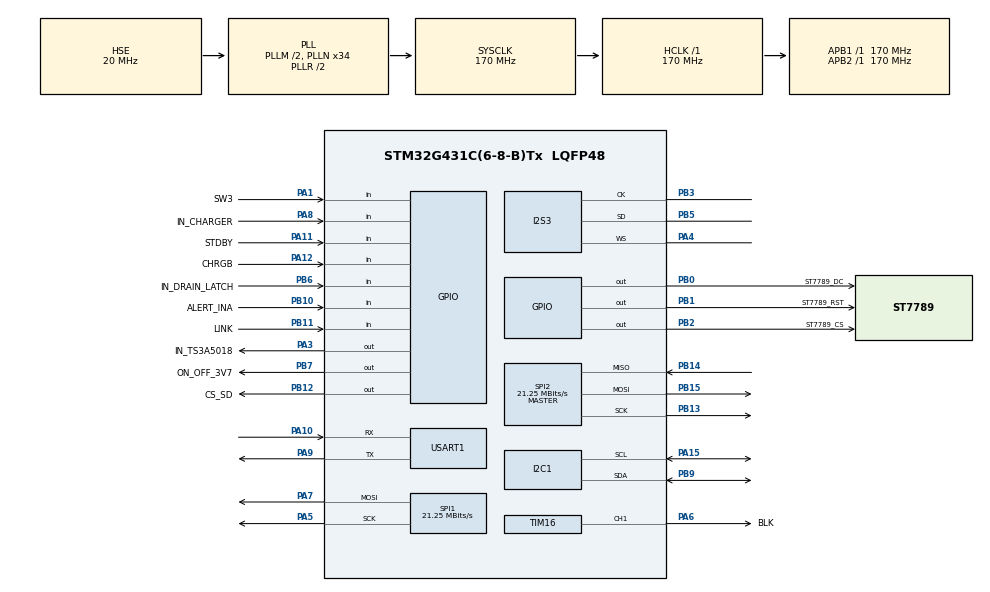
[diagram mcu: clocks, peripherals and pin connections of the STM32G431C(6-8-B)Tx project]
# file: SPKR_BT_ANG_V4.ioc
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Dma.Request0=SPI1_TX
Dma.SPI1_TX.0.Direction=DMA_MEMORY_TO_PERIPH
Dma.SPI1_TX.0.EventEnable=DISABLE
Dma.SPI1_TX.0.Instance=DMA1_Channel1
Dma.SPI1_TX.0.MemDataAlignment=DMA_MDATAALIGN_BYTE
Dma.SPI1_TX.0.MemInc=DMA_MINC_ENABLE
Dma.SPI1_TX.0.Mode=DMA_NORMAL
Dma.SPI1_TX.0.PeriphDataAlignment=DMA_PDATAALIGN_BYTE
Dma.SPI1_TX.0.PeriphInc=DMA_PINC_DISABLE
Dma.SPI1_TX.0.Polarity=HAL_DMAMUX_REQ_GEN_RISING
Dma.SPI1_TX.0.Priority=DMA_PRIORITY_LOW
Dma.SPI1_TX.0.RequestNumber=1
Dma.SPI1_TX.0.SignalID=NONE
Dma.SPI1_TX.0.SyncEnable=DISABLE
Dma.SPI1_TX.0.SyncPolarity=HAL_DMAMUX_SYNC_NO_EVENT
Dma.SPI1_TX.0.SyncRequestNumber=1
Dma.SPI1_TX.0.SyncSignalID=NONE
FATFS._MAX_SS=4096
FATFS._USE_LFN=1
I2C1.Timing=0x40B285C2
I2S3.AudioFreq=I2S_AUDIOFREQ_44K
I2S3.ErrorAudioFreq=-0.21 %
I2S3.FullDuplexMode=I2S_FULLDUPLEXMODE_DISABLE
I2S3.Instance=SPI$Index
I2S3.RealAudioFreq=43.904 KHz
I2S3.VirtualMode=I2S_MODE_MASTER
Mcu.Family=STM32G4
Mcu.Name=STM32G431C(6-8-B)Tx
Mcu.Package=LQFP48
NVIC.DMA1_Channel1_IRQn=true\:0\:0\:false\:false\:true\:false\:true\:true
NVIC.PriorityGroup=NVIC_PRIORITYGROUP_4
PA0.Mode=SYS_WakeUp0
PA0.Signal=SYS_WKUP1
PA1.GPIO_Label=SW3
PA1.GPIO_PuPd=GPIO_PULLUP
PA1.Signal=GPIO_Input
PA10.Mode=Asynchronous
PA10.Signal=USART1_RX
PA11.GPIO_Label=STDBY
PA11.Signal=GPIO_Input
PA12.GPIO_Label=CHRGB
PA12.Signal=GPIO_Input
PA13.Mode=Serial_Wire
PA13.Signal=SYS_JTMS-SWDIO
PA14.Mode=Serial_Wire
PA14.Signal=SYS_JTCK-SWCLK
PA15.Mode=I2C
PA15.Signal=I2C1_SCL
PA2.Mode=SYS_WakeUp3
PA2.Signal=SYS_WKUP4
PA3.GPIO_Label=IN_TS3A5018
PA3.Signal=GPIO_Output
PA4.Mode=Half_Duplex_Master
PA4.Signal=I2S3_WS
PA5.Mode=TX_Only_Simplex_Unidirect_Master
PA5.Signal=SPI1_SCK
PA6.GPIO_Label=BLK
PA6.Signal=S_TIM16_CH1
PA7.Mode=TX_Only_Simplex_Unidirect_Master
PA7.Signal=SPI1_MOSI
PA8.GPIO_Label=IN_CHARGER
PA8.Signal=GPIO_Input
PA9.Mode=Asynchronous
PA9.Signal=USART1_TX
PB0.GPIO_Label=ST7789_DC
PB0.GPIO_Speed=GPIO_SPEED_FREQ_VERY_HIGH
PB0.Signal=GPIO_Output
PB1.GPIO_Label=ST7789_RST
PB1.GPIO_Speed=GPIO_SPEED_FREQ_VERY_HIGH
PB1.Signal=GPIO_Output
PB10.GPIO_Label=ALERT_INA
PB10.GPIO_PuPd=GPIO_PULLUP
PB10.Signal=GPIO_Input
PB11.GPIO_Label=LINK
PB11.Signal=GPIO_Input
PB12.GPIO_Label=CS_SD
PB12.Signal=GPIO_Output
PB13.Mode=Full_Duplex_Master
PB13.Signal=SPI2_SCK
PB14.Mode=Full_Duplex_Master
PB14.Signal=SPI2_MISO
PB15.Mode=Full_Duplex_Master
PB15.Signal=SPI2_MOSI
PB2.GPIO_Label=ST7789_CS
PB2.GPIO_Speed=GPIO_SPEED_FREQ_VERY_HIGH
PB2.PinState=GPIO_PIN_SET
PB2.Signal=GPIO_Output
PB3.Mode=Half_Duplex_Master
PB3.Signal=I2S3_CK
PB5.Mode=Half_Duplex_Master
PB5.Signal=I2S3_SD
PB6.GPIO_Label=IN_DRAIN_LATCH
PB6.Signal=GPIO_Input
PB7.GPIO_Label=ON_OFF_3V7
PB7.Signal=GPIO_Output
PB9.Mode=I2C
PB9.Signal=I2C1_SDA
PC13.Mode=SYS_WakeUp1
PC13.Signal=SYS_WKUP2
PF0-OSC_IN.Mode=HSE-External-Oscillator
PF0-OSC_IN.Signal=RCC_OSC_IN
PF1-OSC_OUT.Mode=HSE-External-Oscillator
PF1-OSC_OUT.Signal=RCC_OSC_OUT
ProjectManager.HeapSize=0x200
ProjectManager.StackSize=0x400
ProjectManager.TargetToolchain=STM32CubeIDE
RCC.ADC12Freq_Value=170000000
RCC.AHBFreq_Value=170000000
RCC.APB1Freq_Value=170000000
RCC.APB1TimFreq_Value=170000000
RCC.APB2Freq_Value=170000000
RCC.APB2TimFreq_Value=170000000
RCC.CortexFreq_Value=170000000
RCC.EXTERNAL_CLOCK_VALUE=12288000
RCC.HCLKFreq_Value=170000000
RCC.HSE_VALUE=20000000
RCC.HSI48_VALUE=48000000
RCC.HSI_VALUE=16000000
RCC.LSE_VALUE=32768
RCC.PLLM=RCC_PLLM_DIV2
RCC.PLLN=34
RCC.PLLSourceVirtual=RCC_PLLSOURCE_HSE
RCC.SYSCLKFreq_VALUE=170000000
RCC.SYSCLKSource=RCC_SYSCLKSOURCE_PLLCLK
RCC.USBFreq_Value=170000000
RCC.VCOOutputFreq_Value=340000000
SH.S_TIM16_CH1.0=TIM16_CH1,PWM Generation1 CH1
SPI1.BaudRatePrescaler=SPI_BAUDRATEPRESCALER_8
SPI1.CLKPhase=SPI_PHASE_1EDGE
SPI1.CLKPolarity=SPI_POLARITY_HIGH
SPI1.CalculateBaudRate=21.25 MBits/s
SPI1.DataSize=SPI_DATASIZE_8BIT
SPI1.Direction=SPI_DIRECTION_2LINES
SPI1.Mode=SPI_MODE_MASTER
SPI1.VirtualType=VM_MASTER
SPI2.BaudRatePrescaler=SPI_BAUDRATEPRESCALER_8
SPI2.CalculateBaudRate=21.25 MBits/s
SPI2.DataSize=SPI_DATASIZE_8BIT
SPI2.Direction=SPI_DIRECTION_2LINES
SPI2.Mode=SPI_MODE_MASTER
SPI2.VirtualType=VM_MASTER
TIM16.Channel=TIM_CHANNEL_1
TIM16.Prescaler=170-1
USART1.VirtualMode-Asynchronous=VM_ASYNC
VP_FATFS_VS_Generic.Mode=User_defined
VP_TIM16_VS_ClockSourceINT.Mode=Enable_Timer
board=custom

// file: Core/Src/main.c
/* USER CODE BEGIN Header */
/**
  ******************************************************************************
  * @file           : main.c
  * @brief          : Main program body
  ******************************************************************************
  * @attention
  *
  * Copyright (c) 2024 STMicroelectronics.
  * All rights reserved.
  *
  * This software is licensed under terms that can be found in the LICENSE file
  * in the root directory of this software component.
  * If no LICENSE file comes with this software, it is provided AS-IS.
  *
  ******************************************************************************
  */
/* USER CODE END Header */
#include "main.h"
#include "app_fatfs.h"

/* USER CODE BEGIN Includes */
#include "stdio.h"
#include "Anglas_ST7789.h"
#include "fonts.h"
#include "math.h"
#include "bitmap.h"

#include "Anglas_MAX17048.h"
#include "Anglas_INA226.h"

#include "testimg.h"
#include "fatfs_sd.h"
/* USER CODE END Includes */

I2C_HandleTypeDef hi2c1;

I2S_HandleTypeDef hi2s3;

SPI_HandleTypeDef hspi1;
SPI_HandleTypeDef hspi2;
DMA_HandleTypeDef hdma_spi1_tx;

TIM_HandleTypeDef htim16;

UART_HandleTypeDef huart1;

/* USER CODE BEGIN PV */
uint16_t contInt=0;
float contFloat=0.0;
char buff[64];
uint16_t freq_BLK = 5000;//5khz
uint16_t nroImagen;
uint32_t contAutomaticOFF=0;
uint8_t cantMaxImages=30;
uint8_t flagMostrarDatosParlante=0;
uint8_t flagMantenerEncendido=1;

float soc, voltage_pwrbank, current_pwrbank, voltage_bat;

/* USER CODE END PV */

void SystemClock_Config(void);
static void MX_GPIO_Init(void);
static void MX_DMA_Init(void);
static void MX_I2C1_Init(void);
static void MX_SPI1_Init(void);
static void MX_TIM16_Init(void);
static void MX_SPI2_Init(void);
static void MX_I2S3_Init(void);
static void MX_USART1_UART_Init(void);
/* USER CODE BEGIN PFP */
void PWM_set_Freq_DutyCycle(uint16_t freq, uint8_t duty);

/* USER CODE END PFP */

/* USER CODE BEGIN 0 */
FATFS fs;  // file system
//FIL file; // File
//FILINFO fno;
//FRESULT fresult;  // result
//UINT br, bw;  // File read/write count

/**** capacity related *****/
//FATFS *pfs;
//DWORD fre_clust;
//uint32_t total, free_space;
//char buffer[100];
//uint16_t farbe;

int displayImage(const char* fname) {
    FIL file;
    FRESULT res = f_open(&file, fname, FA_READ);
    if(res != FR_OK) {
    	ST7789_Print(0, 0, RGB565(0, 0, 255) , RGB565(255, 255, 255) , Font_11x18, "f_open() failed");
        return -1;
    }

    //ST7789_print(0, 20, RGB565(0, 0, 255) , RGB565(255, 255, 255) , 1, &Font_11x18, 1, "File opened, reading...");

    unsigned int bytesRead;
    uint8_t header[34];
    res = f_read(&file, header, sizeof(header), &bytesRead);
    if(res != FR_OK) {
    	ST7789_Print(0, 40, RGB565(0, 0, 255) , RGB565(255, 255, 255) , Font_11x18, "f_read() failed");
        f_close(&file);
        return -2;
    }

    if((header[0] != 0x42) || (header[1] != 0x4D)) {
    	ST7789_Print(0, 60, RGB565(0, 0, 255) , RGB565(255, 255, 255) , Font_11x18, "Wrong BMP signature: 0x%02X 0x%02X");
        f_close(&file);
        return -3;
    }

    uint32_t imageOffset = header[10] | (header[11] << 8) | (header[12] << 16) | (header[13] << 24);
    uint32_t imageWidth = header[18] | (header[19] << 8) | (header[20] << 16) | (header[21] << 24);
    uint32_t imageHeight = header[22] | (header[23] << 8) | (header[24] << 16) | (header[25] << 24);
    uint16_t imagePlanes = header[26] | (header[27] << 8);
    uint16_t imageBitsPerPixel = header[28] | (header[29] << 8);
    uint32_t imageCompression = header[30] | (header[31] << 8) | (header[32] << 16) | (header[33] << 24);

    if((imageWidth != ST7789_WIDTH) || (imageHeight != ST7789_HEIGHT)) {
    	//UART_Printf("Wrong BMP size, %dx%d expected\r\n", ST7735_WIDTH, ST7735_HEIGHT);
    	ST7789_Print(0, 60, RGB565(0, 0, 255) , RGB565(255, 255, 255) , Font_11x18, "Wrong BMP size, %dx%d expected");
        f_close(&file);
        return -4;
    }

    if((imagePlanes != 1) || (imageBitsPerPixel != 24) || (imageCompression != 0)) {
    	ST7789_Print(0, 60, RGB565(0, 0, 255) , RGB565(255, 255, 255) , Font_11x18, "Wrong BMP size, %dx%d expected");
        f_close(&file);
        return -5;
    }

    res = f_lseek(&file, imageOffset);
    if(res != FR_OK) {
        snprintf(buff, sizeof(buff), "f_lseek() failed, res = %d\r\n ", res);
        //ST7789_print(0, 60, RGB565(0, 0, 255) , RGB565(255, 255, 255) , 1, &Font_11x18, 1, buff);
        f_close(&file);
        return -6;
    }

    // row size is aligned to 4 bytes
    uint8_t imageRow[(ST7789_WIDTH * 3 + 3) & ~3];
    for(uint32_t y = 0; y < imageHeight; y++) {
        uint32_t rowIdx = 0;
        res = f_read(&file, imageRow, sizeof(imageRow), &bytesRead);
        if(res != FR_OK) {
            snprintf(buff, sizeof(buff), "f_read() failed, res = %d\r\n", res);
            //ST7789_print(0, 60, RGB565(0, 130, 255) , RGB565(255, 255, 255) , 1, &Font_11x18, 1, buff);
            f_close(&file);
            return -7;
        }

        for(uint32_t x = 0; x < imageWidth; x++) {
            uint8_t b = imageRow[rowIdx++];
            uint8_t g = imageRow[rowIdx++];
            uint8_t r = imageRow[rowIdx++];
            ST7789_DrawPixel(x, imageHeight - y - 1, RGB565(r, g, b));
        }
    }

    res = f_close(&file);
    if(res != FR_OK) {
        snprintf(buff, sizeof(buff), "f_close() failed, res = %d\r\n", res);
        //ST7789_print(0, 60, RGB565(0, 130, 255) , RGB565(255, 255, 255) , 1, &Font_11x18, 1, buff);
        return -8;
    }

    return 0;
}

int displayImage_fast(const char* fname)
{
    FIL file;
    if (f_open(&file, fname, FA_READ) != FR_OK) return -1;

    uint8_t header[54];
    UINT bytesRead;
    if (f_read(&file, header, sizeof(header), &bytesRead) != FR_OK) {
        f_close(&file);
        return -2;
    }

    if (header[0] != 0x42 || header[1] != 0x4D) return -3;  // 'BM'

    uint32_t dataOffset  = *(uint32_t *)&header[10];
    uint32_t width       = *(uint32_t *)&header[18];
    uint32_t height      = *(uint32_t *)&header[22];
    uint16_t bpp         = *(uint16_t *)&header[28];
    uint32_t compression = *(uint32_t *)&header[30];

    if (width != ST7789_WIDTH || height != ST7789_HEIGHT || bpp != 24 || compression != 0) {
        f_close(&file);
        return -4;
    }

    f_lseek(&file, dataOffset);

    uint8_t bmpLine[(ST7789_WIDTH * 3 + 3) & ~3];
    uint8_t line565[ST7789_WIDTH * 2];  // Cada pixel ocupa 2 bytes (RGB565)

    for (int y = ST7789_HEIGHT - 1; y >= 0; y--) {
        if (f_read(&file, bmpLine, sizeof(bmpLine), &bytesRead) != FR_OK) {
            f_close(&file);
            return -5;
        }

        for (uint32_t x = 0, i = 0; x < ST7789_WIDTH; x++) {
            uint8_t b = bmpLine[i++];
            uint8_t g = bmpLine[i++];
            uint8_t r = bmpLine[i++];
            uint16_t color = RGB565(r, g, b);

            // Guardar como 2 bytes en big endian (MSB primero)
            line565[x * 2]     = color >> 8;
            line565[x * 2 + 1] = color & 0xFF;
        }

        ST7789_SetAddressWindow(0, y, ST7789_WIDTH - 1, y);
        ST7789_WriteData(line565, ST7789_WIDTH * 2);  // 2 bytes por píxel
    }

    f_close(&file);
    return 0;
}

uint8_t displayRandomImage(uint32_t seed) {
    char filename[10];  // Buffer para el nombre del archivo
    srand(seed);  // Inicializa rand() con una semilla mejorada
    int imageNumber = (rand() % cantMaxImages) + 1; // Genera número aleatorio entre 1 y 30
    snprintf(filename, sizeof(filename), "%d.bmp", imageNumber); // Genera el nombre del archivo
    displayImage_fast(filename); // Muestra la imagen en el ST7789
    return imageNumber;
}

void displayNumberImage(uint8_t imageNumber) {//dibujar la imagen con
    char filename[10];  // Buffer para el nombre del archivo
    snprintf(filename, sizeof(filename), "%d.bmp", imageNumber); // Genera el nombre del archivo
    displayImage_fast(filename); // Muestra la imagen en el ST7789
}

void displayRandomNum(uint32_t seed) {
    srand(seed);  // Inicializa rand() con una semilla mejorada
    int imageNumber = (rand() % cantMaxImages) + 1; // Genera número aleatorio entre 1 y 30
    snprintf(buff, sizeof(buff), "%2d.bmp", imageNumber); // Genera el nombre del archivo
    ST7789_Print(0, 30, RGB565(0, 130, 255) , WHITE , Font_16x26, buff);
    HAL_Delay(1000);
    //displayImage(filename); // Muestra la imagen en el ST7789
}

/* USER CODE END 0 */

int main(void)
{

  /* MCU Configuration--------------------------------------------------------*/

  /* Reset of all peripherals, Initializes the Flash interface and the Systick. */
  HAL_Init();

  /* Configure the system clock */
  SystemClock_Config();

  /* Initialize all configured peripherals */
  MX_GPIO_Init();
  MX_DMA_Init();
  MX_I2C1_Init();
  MX_SPI1_Init();
  MX_TIM16_Init();
  MX_SPI2_Init();
  MX_I2S3_Init();
  MX_USART1_UART_Init();
  if (MX_FATFS_Init() != APP_OK) {
    Error_Handler();
  }
  /* USER CODE BEGIN 2 */

  /*
  //CODIGO PARA PROBAR TODO EL TIEMPO ENCENDIDA LA PANTALLA
  PWM_set_Freq_DutyCycle(freq_BLK,0);//iniciar pantalla negra
  ST7789_Init();
  PWM_set_Freq_DutyCycle(freq_BLK,100);//encender pantalla
  ST7789_Fill_Color(BLACK);
  MAX17048_Init();
  //MAX17048_QuickStart();
  MAX17048_SetAlertThreshold(1);
  INA226_Init(3.2768,25,AVG_4,T_Vbus_8_244ms,T_Vshunt_8_244ms,MODE_SHUNT_BUS_CONTINUOUS);
  INA226_Mode_pinAlert(SHUNT_VOLTAGE_OVER);//superar la CORRIENTE de
  INA226_Alert_Limit(900);//escribo el umbral para activar el pin alert

  //Verificar micro SD
  FRESULT res = f_mount(&fs, "", 0);
  if(res != FR_OK) {
      //UART_Printf("f_mount() failed, res = %d\r\n", res);
      snprintf(buff, sizeof(buff), "f_mount() failed, res = %d\r\n", res);
      ST7789_Print(0, 150, RGB565(0, 130, 255) , RGB565(255, 255, 255) , Font_11x18, buff);
      return -2;
  }
  //ST7789_print(0, 150, RGB565(0, 130, 255) , RGB565(255, 255, 255) , 1, &Font_11x18, 1, "f_mount() done!\r\n");
  //HAL_GPIO_WritePin(IN_TS3A5018_GPIO_Port, IN_TS3A5018_Pin, 0);//activar TS3A5018 para parlante bt
  //HAL_Delay(2000);
  //HAL_GPIO_WritePin(ON_OFF_3V7_GPIO_Port, ON_OFF_3V7_Pin, 1);//Encender parlante

  */

  /******************** PARA USAR LOS TRES SYS_WKUP **********************************/

  // Verifica si el sistema reanudó desde Standby Mode
  if (__HAL_PWR_GET_FLAG(PWR_FLAG_SB) != RESET) {
      __HAL_PWR_CLEAR_FLAG(PWR_FLAG_SB); // Limpia la bandera

      ////////////////////////////////////// SYS_WKUP1 ////////////////////////////////////////////////
      //Esto hace cuando se presiona el pulsador del SYS_WKUP1 (necesita si o si resistencia PULL-DOWN)
      if (HAL_GPIO_ReadPin(GPIOA, GPIO_PIN_0) == 1) {//FUNCION 1, si presionamos SYS_WKUP1

    	  if (HAL_GPIO_ReadPin(IN_DRAIN_LATCH_GPIO_Port, IN_DRAIN_LATCH_Pin) == 0){//si no hay 3.7V en esta entrada IN_DRAIN_LATCH, entonces enciende el parlante
    		  //Inicializa la micro SD
    		  FRESULT res = f_mount(&fs, "", 0);
        	  if(res != FR_OK) {
        	      snprintf(buff, sizeof(buff), "f_mount() failed, res = %d\r\n", res);
        	      ST7789_Print(0, 150, RGB565(0, 130, 255) , WHITE , Font_16x26, buff);
        	      return -2;
        	  }

    		  HAL_GPIO_WritePin(ON_OFF_3V7_GPIO_Port, ON_OFF_3V7_Pin, 1);//Encender parlante
    		  PWM_set_Freq_DutyCycle(freq_BLK,0);//iniciar pantalla negra
			  ST7789_Init();
			  PWM_set_Freq_DutyCycle(freq_BLK,100);
			  MAX17048_Init();
			  MAX17048_QuickStart();
			  MAX17048_SetAlertThreshold(1);
			  INA226_Init(3.2768,25,AVG_4,T_Vbus_8_244ms,T_Vshunt_8_244ms,MODE_SHUNT_BUS_CONTINUOUS);
			  INA226_Mode_pinAlert(SHUNT_VOLTAGE_OVER);
			  INA226_Alert_Limit(1500);

			  voltage_bat = MAX17048_GetVoltage();
			  voltage_pwrbank = INA226_Vbus();

			  displayRandomImage(voltage_bat*voltage_bat*voltage_pwrbank*voltage_pwrbank);
			  HAL_Delay(4000);

    	  }else{//si hay 3.7V en la entrada IN_DRAIN_LATCH, entonces esta encendido el parlante, y con las lineas de abajo lo apago

    		  //HAL_GPIO_WritePin(ON_OFF_3V7_GPIO_Port, ON_OFF_3V7_Pin, 0);//Apagar parlante
			  //MAX17048_SetAlertThreshold(1);//al colocar pone a 0 el pin alert y esto hace que consuma unos mA menos
			  //HAL_Delay(2000);//tiempo para apagar luego de encender o viceversa

			  ////////////////////////////////// DESDE AQUI ESTOY AGREGANDO CODIGO /////////////////
        	  //Inicia SD CARD
        	  FRESULT res = f_mount(&fs, "", 0);
        	  if(res != FR_OK) {
        	      snprintf(buff, sizeof(buff), "f_mount() failed, res = %d\r\n", res);
        	      ST7789_Print(0, 150, RGB565(0, 130, 255) , WHITE , Font_16x26, buff);
        	      return -2;
        	  }

        	  PWM_set_Freq_DutyCycle(freq_BLK,0);//iniciar pantalla negra

        	  //verifica si esta encendido lo mantiene asi y si esta apagado lo mantiene apagado
        	  if (HAL_GPIO_ReadPin(IN_DRAIN_LATCH_GPIO_Port, IN_DRAIN_LATCH_Pin) == 1){
        		  HAL_GPIO_WritePin(ON_OFF_3V7_GPIO_Port, ON_OFF_3V7_Pin, 1);//mantiene encendido
        	  }

        	  PWM_set_Freq_DutyCycle(freq_BLK,0);//iniciar pantalla negra
        	  ST7789_Init();
        	  PWM_set_Freq_DutyCycle(freq_BLK,100);
        	  MAX17048_Init();
        	  MAX17048_QuickStart();
        	  MAX17048_SetAlertThreshold(1);
    		  INA226_Init(3.2768,25,AVG_4,T_Vbus_8_244ms,T_Vshunt_8_244ms,MODE_SHUNT_BUS_CONTINUOUS);
    		  INA226_Mode_pinAlert(SHUNT_VOLTAGE_OVER);
    		  INA226_Alert_Limit(1500);

    		  uint32_t startTime = HAL_GetTick(); // Tiempo inicial
    		  //mientras no presiono SW3 o no pasan mas de 5000milisegundos
    		  while(HAL_GPIO_ReadPin(SW3_GPIO_Port, SW3_Pin) == 1 && (HAL_GetTick() - startTime) < 15000 && flagMantenerEncendido == 1){

    			  //if(flagMantenerEncendido == 1){//este flag es para salir del while(HAL_GPIO_ReadPin(GPIOA,

					  if(flagMostrarDatosParlante == 0){
						  soc = MAX17048_GetSoc();//leer una vez, aqui lee 2% o algo asi porq anteriormente hubo consumo de mA ya sea de powerbank o altavoces
						  HAL_Delay(500);//esperar para que el voltaje no de 2% porq se activo anteriormente el powerbank

						  soc = MAX17048_GetSoc();//aqui se estabilizar y lee bien luego de ese delay anterior
						  sprintf(buff,"%3i%%",(uint8_t)soc);
						  ST7789_Print(100, 10, GREEN, BLACK, Font_16x28, buff);

						  voltage_bat = MAX17048_GetVoltage();
						  //HAL_Delay(400);//esperar para que el voltaje no de 2% porq se activo anteriormente el powerbank

						  voltage_bat = MAX17048_GetVoltage();
						  sprintf(buff,"VOLTAGE: %1.2fV",voltage_bat);
						  ST7789_Print(5, 60, BLUE, BLACK, Font_16x26, buff);

						  voltage_pwrbank = INA226_Vbus();
						  sprintf(buff,"%2.1fV",voltage_pwrbank);
						  ST7789_Print(50, 100, WHITE, BLACK, Font_16x26, buff);

						  current_pwrbank = INA226_Current();
						  sprintf(buff,"%4.0fmA",current_pwrbank);
						  ST7789_Print(140, 100, MAGENTA, BLACK, Font_16x26, buff);
						  srand(voltage_bat*voltage_bat*voltage_pwrbank*voltage_pwrbank);//genero un num aleatoria con una semilla
						  nroImagen = (rand() % cantMaxImages) + 1; // Genera número aleatorio entre 1 y cantMaxImages
					  }

					  if (HAL_GPIO_ReadPin(GPIOC, GPIO_PIN_13) == 1) {
						  flagMostrarDatosParlante=1;
						  startTime = HAL_GetTick();//actualizo el valor cada vez que cambio de imagen, sino se apaga
						  nroImagen++;
						  if(nroImagen >= cantMaxImages) nroImagen=1;
						  displayNumberImage(nroImagen);
					  }

					  uint32_t startTime = HAL_GetTick(); // Tiempo inicial
					  //si mantengo presionado el pulsador aumento el contador y cuando llega a 2000 entonces
					  // pone flagMantenerEncendido=0  y mientras que no suelte no sale del bucle por eso agregue
					  // esto en el while : && flagMantenerEncendido == 1 para que cuando llegue a 2000
					  //salga del bucle y apague todo, sino cuando soltamos el pulsador recien apaga
					  while(HAL_GPIO_ReadPin(GPIOA, GPIO_PIN_0) == 1 && flagMantenerEncendido == 1){//mientras tengo presionado el pulsador SYS_WKUP1
						  //startTime = HAL_GetTick();//actualizo el valor, ver si descomentar esta linea
						  if (HAL_GetTick() - startTime >= 2000){
							  flagMantenerEncendido = 0;
							  //Apagar parlante
							  HAL_GPIO_WritePin(ON_OFF_3V7_GPIO_Port, ON_OFF_3V7_Pin, 0);//Apagar parlante
							  PWM_set_Freq_DutyCycle(freq_BLK,0);//pantalla apagada
							  MAX17048_SetAlertThreshold(1);//al colocar pone a 0 el pin alert y esto hace que consuma unos mA menos
							  HAL_Delay(2000);
						  }
					  }//end while
    			  //}//end if(flagMantenerEncendido == 1)
        	  }//end while(HAL_GPIO_ReadPin(SW3_GPIO_Port, SW3_Pin) == 1 && (HAL_GetTick() - startTime) < 15000)

    		  //si pasasn los 15segundos, solo apagar la pantalla y no el parlante
    		  //pero creo que debemos agregar MAX17048_SetAlertThreshold(1); para reducir el consumo
    		  //corroborar esto con una amperimetro midiendo la corriente

    		  //apagar solo pantalla y dejar encendido el parlante
        	  PWM_set_Freq_DutyCycle(freq_BLK,0);//pantalla apagada
        	  HAL_TIM_PWM_Stop(&htim16, TIM_CHANNEL_1);
        	  ST7789_SleepModeEnter();

    		  /*
    		  /////////////////////////desde aqui funciona ////////////////
        	  //verifica si esta encendido lo mantiene asi
        	  if (HAL_GPIO_ReadPin(IN_DRAIN_LATCH_GPIO_Port, IN_DRAIN_LATCH_Pin) == 1){
        		  HAL_GPIO_WritePin(ON_OFF_3V7_GPIO_Port, ON_OFF_3V7_Pin, 1);//mantiene encendido
        	  }

			  PWM_set_Freq_DutyCycle(freq_BLK,100);//encender pantalla para probar

			  uint32_t startTime = HAL_GetTick(); // Tiempo inicial
			  while(HAL_GPIO_ReadPin(GPIOA, GPIO_PIN_0) == 1){//mientras tengo presionado el pulsador SYS_WKUP1
				  if (HAL_GetTick() - startTime >= 2500){
					  HAL_GPIO_WritePin(ON_OFF_3V7_GPIO_Port, ON_OFF_3V7_Pin, 0);//Apagar parlante
					  MAX17048_SetAlertThreshold(1);//al colocar pone a 0 el pin alert y esto hace que consuma unos mA menos
					  PWM_set_Freq_DutyCycle(freq_BLK,0);//apagar pantalla negra
					  HAL_Delay(2000);
				  }
			  }//end while
			  /////////////////////////end hasta aqui funciona //////////////////////////////
			  */
    	  }

      }

      ////////////////////////////////////// SYS_WKUP2 ////////////////////////////////////////////////
      //Esto hace cuando se presiona el pulsador del SYS_WKUP2 (necesita si o si resistencia PULL-DOWN)
      if (HAL_GPIO_ReadPin(GPIOC, GPIO_PIN_13) == 1) {//FUNCION 2, si presionamos SYS_WKUP2

    	  //Inicia SD CARD
    	  FRESULT res = f_mount(&fs, "", 0);
    	  if(res != FR_OK) {
    	      snprintf(buff, sizeof(buff), "f_mount() failed, res = %d\r\n", res);
    	      ST7789_Print(0, 150, RGB565(0, 130, 255) , WHITE , Font_16x26, buff);
    	      return -2;
    	  }

    	  PWM_set_Freq_DutyCycle(freq_BLK,0);//iniciar pantalla negra

    	  //verifica si esta encendido lo mantiene asi y si esta apagado lo mantiene apagado
    	  if (HAL_GPIO_ReadPin(IN_DRAIN_LATCH_GPIO_Port, IN_DRAIN_LATCH_Pin) == 0){
    		  HAL_GPIO_WritePin(ON_OFF_3V7_GPIO_Port, ON_OFF_3V7_Pin, 0);//mantiene apagado
    	  }else{
    		  HAL_GPIO_WritePin(ON_OFF_3V7_GPIO_Port, ON_OFF_3V7_Pin, 1);//mantiene encendido
    	  }

    	  PWM_set_Freq_DutyCycle(freq_BLK,0);//iniciar pantalla negra
    	  ST7789_Init();
    	  PWM_set_Freq_DutyCycle(freq_BLK,100);
    	  MAX17048_Init();
    	  MAX17048_QuickStart();
    	  MAX17048_SetAlertThreshold(1);
		  INA226_Init(3.2768,25,AVG_4,T_Vbus_8_244ms,T_Vshunt_8_244ms,MODE_SHUNT_BUS_CONTINUOUS);
		  INA226_Mode_pinAlert(SHUNT_VOLTAGE_OVER);
		  INA226_Alert_Limit(1500);

		  uint32_t startTime = HAL_GetTick(); // Tiempo inicial
		  //mientras no presiono SW3 o no pasan mas de 5000milisegundos
		  while(HAL_GPIO_ReadPin(SW3_GPIO_Port, SW3_Pin) == 1 && (HAL_GetTick() - startTime) < 15000){

			  if(flagMostrarDatosParlante == 0){
				  soc = MAX17048_GetSoc();//leer una vez, aqui lee 2% o algo asi porq anteriormente hubo consumo de mA ya sea de powerbank o altavoces
				  HAL_Delay(500);//esperar para que el voltaje no de 2% porq se activo anteriormente el powerbank

				  soc = MAX17048_GetSoc();//aqui se estabilizar y lee bien luego de ese delay anterior
				  sprintf(buff,"%3i%%",(uint8_t)soc);
				  ST7789_Print(100, 10, GREEN, BLACK, Font_16x28, buff);

				  voltage_bat = MAX17048_GetVoltage();
				  //HAL_Delay(400);//esperar para que el voltaje no de 2% porq se activo anteriormente el powerbank

				  voltage_bat = MAX17048_GetVoltage();
				  sprintf(buff,"VOLTAGE: %1.2fV",voltage_bat);
				  ST7789_Print(5, 60, BLUE, BLACK, Font_16x26, buff);

				  voltage_pwrbank = INA226_Vbus();
				  sprintf(buff,"%2.1fV",voltage_pwrbank);
				  ST7789_Print(50, 100, WHITE, BLACK, Font_16x26, buff);

				  current_pwrbank = INA226_Current();
				  sprintf(buff,"%4.0fmA",current_pwrbank);
				  ST7789_Print(140, 100, MAGENTA, BLACK, Font_16x26, buff);
				  srand(voltage_bat*voltage_bat*voltage_pwrbank*voltage_pwrbank);//genero un num aleatoria con una semilla
				  nroImagen = (rand() % cantMaxImages) + 1; // Genera número aleatorio entre 1 y cantMaxImages
			  }

			  if (HAL_GPIO_ReadPin(GPIOC, GPIO_PIN_13) == 1) {
				  flagMostrarDatosParlante=1;
				  startTime = HAL_GetTick();//actualizo el valor cada vez que cambio de imagen, sino se apaga
				  nroImagen++;
    			  if(nroImagen >= cantMaxImages) nroImagen=1;
    			  displayNumberImage(nroImagen);
    		  }
    	  }

    	  PWM_set_Freq_DutyCycle(freq_BLK,0);//pantalla apagada
    	  HAL_TIM_PWM_Stop(&htim16, TIM_CHANNEL_1);
    	  ST7789_SleepModeEnter();
      }

      HAL_PWR_DisableWakeUpPin(PWR_WAKEUP_PIN1);// Desactiva el Wake-Up Pin1
      HAL_PWR_DisableWakeUpPin(PWR_WAKEUP_PIN2);// Desactiva el Wake-Up Pin2
      //HAL_PWR_DisableWakeUpPin(PWR_WAKEUP_PIN4);// Desactiva el Wake-Up Pin4

  }//end if (__HAL_PWR_GET_FLAG(PWR_FLAG_SB) != RESET)

    __HAL_PWR_CLEAR_FLAG(PWR_FLAG_WU);//AHORA RECIEN VAMOS A INGRESAR AL STANDBY MODE
    HAL_PWR_EnableWakeUpPin(PWR_WAKEUP_PIN1);//habilitamos el Wake-Up Pin1
    HAL_PWR_EnableWakeUpPin(PWR_WAKEUP_PIN2);//habilitamos el Wake-Up Pin2
    //HAL_PWR_EnableWakeUpPin(PWR_WAKEUP_PIN4);//habilitamos el Wake-Up Pin4
    HAL_PWR_EnterSTANDBYMode();//FINALMENTE INGRESAMOS AL STANDBY MODE

  /* USER CODE END 2 */

  /* Infinite loop */
  /* USER CODE BEGIN WHILE */
  while (1)
  {

	  //Measure_FPS_ImageBMP();
	  //voltage_bat = MAX17048_GetVoltage();
	  //voltage_pwrbank = INA226_Vbus();
	  //displayRandomImage(voltage_bat*voltage_bat*voltage_pwrbank*voltage_pwrbank);
	  //displayRandomNum(voltage_bat*voltage_bat*voltage_pwrbank*voltage_pwrbank);

	  //para mostrar todas las imagenes
	  /*char filename[10];
	  for(uint8_t i=1; i<=30; i++){
		  snprintf(filename, sizeof(filename), "%d.bmp", i);
		  displayImage_fast(filename); // Muestra la imagen en el ST7789
	  }*/

	  /*soc = MAX17048_GetSoc();//aqui se estabilizar y lee bien luego de ese delay anterior
	  sprintf(buff,"%3i%%",(uint8_t)soc);
	  ST7789_Print(100, 0, RGB565(0, 255, 0) , RGB565(0, 0, 0) , Font_16x28, buff);

	  voltage_bat = MAX17048_GetVoltage();
	  voltage_bat = MAX17048_GetVoltage();
	  sprintf(buff,"VOLTAGE: %1.2fV",voltage_bat);
	  ST7789_Print(5, 60, RGB565(0, 0, 255) , RGB565(0, 0, 0) , Font_11x18, buff);

	  voltage_pwrbank = INA226_Vbus();
	  sprintf(buff,"%2.1fV",voltage_pwrbank);
	  ST7789_Print(50, 100, RGB565(255, 255, 255) , RGB565(0, 0, 0) , Font_11x18, buff);

	  current_pwrbank = INA226_Current();
	  sprintf(buff,"%4.0fmA",current_pwrbank);
	  ST7789_Print(140, 100, RGB565(255, 0, 255) , RGB565(0, 0, 0) , Font_11x18, buff);*/

    /* USER CODE END WHILE */

  }
}

void SystemClock_Config(void)
{
  RCC_OscInitTypeDef RCC_OscInitStruct = {0};
  RCC_ClkInitTypeDef RCC_ClkInitStruct = {0};

  /** Configure the main internal regulator output voltage
  */
  HAL_PWREx_ControlVoltageScaling(PWR_REGULATOR_VOLTAGE_SCALE1_BOOST);

  /** Initializes the RCC Oscillators according to the specified parameters
  * in the RCC_OscInitTypeDef structure.
  */
  RCC_OscInitStruct.OscillatorType = RCC_OSCILLATORTYPE_HSE;
  RCC_OscInitStruct.HSEState = RCC_HSE_ON;
  RCC_OscInitStruct.PLL.PLLState = RCC_PLL_ON;
  RCC_OscInitStruct.PLL.PLLSource = RCC_PLLSOURCE_HSE;
  RCC_OscInitStruct.PLL.PLLM = RCC_PLLM_DIV2;
  RCC_OscInitStruct.PLL.PLLN = 34;
  RCC_OscInitStruct.PLL.PLLP = RCC_PLLP_DIV2;
  RCC_OscInitStruct.PLL.PLLQ = RCC_PLLQ_DIV2;
  RCC_OscInitStruct.PLL.PLLR = RCC_PLLR_DIV2;
  if (HAL_RCC_OscConfig(&RCC_OscInitStruct) != HAL_OK)
  {
    Error_Handler();
  }

  /** Initializes the CPU, AHB and APB buses clocks
  */
  RCC_ClkInitStruct.ClockType = RCC_CLOCKTYPE_HCLK|RCC_CLOCKTYPE_SYSCLK
                              |RCC_CLOCKTYPE_PCLK1|RCC_CLOCKTYPE_PCLK2;
  RCC_ClkInitStruct.SYSCLKSource = RCC_SYSCLKSOURCE_PLLCLK;
  RCC_ClkInitStruct.AHBCLKDivider = RCC_SYSCLK_DIV1;
  RCC_ClkInitStruct.APB1CLKDivider = RCC_HCLK_DIV1;
  RCC_ClkInitStruct.APB2CLKDivider = RCC_HCLK_DIV1;

  if (HAL_RCC_ClockConfig(&RCC_ClkInitStruct, FLASH_LATENCY_4) != HAL_OK)
  {
    Error_Handler();
  }
}

static void MX_I2C1_Init(void)
{

  hi2c1.Instance = I2C1;
  hi2c1.Init.Timing = 0x40B285C2;
  hi2c1.Init.OwnAddress1 = 0;
  hi2c1.Init.AddressingMode = I2C_ADDRESSINGMODE_7BIT;
  hi2c1.Init.DualAddressMode = I2C_DUALADDRESS_DISABLE;
  hi2c1.Init.OwnAddress2 = 0;
  hi2c1.Init.OwnAddress2Masks = I2C_OA2_NOMASK;
  hi2c1.Init.GeneralCallMode = I2C_GENERALCALL_DISABLE;
  hi2c1.Init.NoStretchMode = I2C_NOSTRETCH_DISABLE;
  if (HAL_I2C_Init(&hi2c1) != HAL_OK)
  {
    Error_Handler();
  }

  /** Configure Analogue filter
  */
  if (HAL_I2CEx_ConfigAnalogFilter(&hi2c1, I2C_ANALOGFILTER_ENABLE) != HAL_OK)
  {
    Error_Handler();
  }

  /** Configure Digital filter
  */
  if (HAL_I2CEx_ConfigDigitalFilter(&hi2c1, 0) != HAL_OK)
  {
    Error_Handler();
  }

}

static void MX_I2S3_Init(void)
{

  hi2s3.Instance = SPI3;
  hi2s3.Init.Mode = I2S_MODE_MASTER_TX;
  hi2s3.Init.Standard = I2S_STANDARD_PHILIPS;
  hi2s3.Init.DataFormat = I2S_DATAFORMAT_16B;
  hi2s3.Init.MCLKOutput = I2S_MCLKOUTPUT_DISABLE;
  hi2s3.Init.AudioFreq = I2S_AUDIOFREQ_44K;
  hi2s3.Init.CPOL = I2S_CPOL_LOW;
  if (HAL_I2S_Init(&hi2s3) != HAL_OK)
  {
    Error_Handler();
  }

}

static void MX_SPI1_Init(void)
{

  /* SPI1 parameter configuration*/
  hspi1.Instance = SPI1;
  hspi1.Init.Mode = SPI_MODE_MASTER;
  hspi1.Init.Direction = SPI_DIRECTION_2LINES;
  hspi1.Init.DataSize = SPI_DATASIZE_8BIT;
  hspi1.Init.CLKPolarity = SPI_POLARITY_HIGH;
  hspi1.Init.CLKPhase = SPI_PHASE_1EDGE;
  hspi1.Init.NSS = SPI_NSS_SOFT;
  hspi1.Init.BaudRatePrescaler = SPI_BAUDRATEPRESCALER_8;
  hspi1.Init.FirstBit = SPI_FIRSTBIT_MSB;
  hspi1.Init.TIMode = SPI_TIMODE_DISABLE;
  hspi1.Init.CRCCalculation = SPI_CRCCALCULATION_DISABLE;
  hspi1.Init.CRCPolynomial = 7;
  hspi1.Init.CRCLength = SPI_CRC_LENGTH_DATASIZE;
  hspi1.Init.NSSPMode = SPI_NSS_PULSE_ENABLE;
  if (HAL_SPI_Init(&hspi1) != HAL_OK)
  {
    Error_Handler();
  }

}

static void MX_SPI2_Init(void)
{

  /* SPI2 parameter configuration*/
  hspi2.Instance = SPI2;
  hspi2.Init.Mode = SPI_MODE_MASTER;
  hspi2.Init.Direction = SPI_DIRECTION_2LINES;
  hspi2.Init.DataSize = SPI_DATASIZE_8BIT;
  hspi2.Init.CLKPolarity = SPI_POLARITY_LOW;
  hspi2.Init.CLKPhase = SPI_PHASE_1EDGE;
  hspi2.Init.NSS = SPI_NSS_SOFT;
  hspi2.Init.BaudRatePrescaler = SPI_BAUDRATEPRESCALER_8;
  hspi2.Init.FirstBit = SPI_FIRSTBIT_MSB;
  hspi2.Init.TIMode = SPI_TIMODE_DISABLE;
  hspi2.Init.CRCCalculation = SPI_CRCCALCULATION_DISABLE;
  hspi2.Init.CRCPolynomial = 7;
  hspi2.Init.CRCLength = SPI_CRC_LENGTH_DATASIZE;
  hspi2.Init.NSSPMode = SPI_NSS_PULSE_ENABLE;
  if (HAL_SPI_Init(&hspi2) != HAL_OK)
  {
    Error_Handler();
  }

}

static void MX_TIM16_Init(void)
{

  TIM_OC_InitTypeDef sConfigOC = {0};
  TIM_BreakDeadTimeConfigTypeDef sBreakDeadTimeConfig = {0};

  htim16.Instance = TIM16;
  htim16.Init.Prescaler = 170-1;
  htim16.Init.CounterMode = TIM_COUNTERMODE_UP;
  htim16.Init.Period = 65535;
  htim16.Init.ClockDivision = TIM_CLOCKDIVISION_DIV1;
  htim16.Init.RepetitionCounter = 0;
  htim16.Init.AutoReloadPreload = TIM_AUTORELOAD_PRELOAD_DISABLE;
  if (HAL_TIM_Base_Init(&htim16) != HAL_OK)
  {
    Error_Handler();
  }
  if (HAL_TIM_PWM_Init(&htim16) != HAL_OK)
  {
    Error_Handler();
  }
  sConfigOC.OCMode = TIM_OCMODE_PWM1;
  sConfigOC.Pulse = 0;
  sConfigOC.OCPolarity = TIM_OCPOLARITY_HIGH;
  sConfigOC.OCNPolarity = TIM_OCNPOLARITY_HIGH;
  sConfigOC.OCFastMode = TIM_OCFAST_DISABLE;
  sConfigOC.OCIdleState = TIM_OCIDLESTATE_RESET;
  sConfigOC.OCNIdleState = TIM_OCNIDLESTATE_RESET;
  if (HAL_TIM_PWM_ConfigChannel(&htim16, &sConfigOC, TIM_CHANNEL_1) != HAL_OK)
  {
    Error_Handler();
  }
  sBreakDeadTimeConfig.OffStateRunMode = TIM_OSSR_DISABLE;
  sBreakDeadTimeConfig.OffStateIDLEMode = TIM_OSSI_DISABLE;
  sBreakDeadTimeConfig.LockLevel = TIM_LOCKLEVEL_OFF;
  sBreakDeadTimeConfig.DeadTime = 0;
  sBreakDeadTimeConfig.BreakState = TIM_BREAK_DISABLE;
  sBreakDeadTimeConfig.BreakPolarity = TIM_BREAKPOLARITY_HIGH;
  sBreakDeadTimeConfig.BreakFilter = 0;
  sBreakDeadTimeConfig.AutomaticOutput = TIM_AUTOMATICOUTPUT_DISABLE;
  if (HAL_TIMEx_ConfigBreakDeadTime(&htim16, &sBreakDeadTimeConfig) != HAL_OK)
  {
    Error_Handler();
  }
  HAL_TIM_MspPostInit(&htim16);

}

static void MX_USART1_UART_Init(void)
{

  huart1.Instance = USART1;
  huart1.Init.BaudRate = 115200;
  huart1.Init.WordLength = UART_WORDLENGTH_8B;
  huart1.Init.StopBits = UART_STOPBITS_1;
  huart1.Init.Parity = UART_PARITY_NONE;
  huart1.Init.Mode = UART_MODE_TX_RX;
  huart1.Init.HwFlowCtl = UART_HWCONTROL_NONE;
  huart1.Init.OverSampling = UART_OVERSAMPLING_16;
  huart1.Init.OneBitSampling = UART_ONE_BIT_SAMPLE_DISABLE;
  huart1.Init.ClockPrescaler = UART_PRESCALER_DIV1;
  huart1.AdvancedInit.AdvFeatureInit = UART_ADVFEATURE_NO_INIT;
  if (HAL_UART_Init(&huart1) != HAL_OK)
  {
    Error_Handler();
  }
  if (HAL_UARTEx_SetTxFifoThreshold(&huart1, UART_TXFIFO_THRESHOLD_1_8) != HAL_OK)
  {
    Error_Handler();
  }
  if (HAL_UARTEx_SetRxFifoThreshold(&huart1, UART_RXFIFO_THRESHOLD_1_8) != HAL_OK)
  {
    Error_Handler();
  }
  if (HAL_UARTEx_DisableFifoMode(&huart1) != HAL_OK)
  {
    Error_Handler();
  }

}

static void MX_DMA_Init(void)
{

  /* DMA controller clock enable */
  __HAL_RCC_DMAMUX1_CLK_ENABLE();
  __HAL_RCC_DMA1_CLK_ENABLE();

  /* DMA interrupt init */
  /* DMA1_Channel1_IRQn interrupt configuration */
  HAL_NVIC_SetPriority(DMA1_Channel1_IRQn, 0, 0);
  HAL_NVIC_EnableIRQ(DMA1_Channel1_IRQn);

}

static void MX_GPIO_Init(void)
{
  GPIO_InitTypeDef GPIO_InitStruct = {0};

  /* GPIO Ports Clock Enable */
  __HAL_RCC_GPIOC_CLK_ENABLE();
  __HAL_RCC_GPIOF_CLK_ENABLE();
  __HAL_RCC_GPIOA_CLK_ENABLE();
  __HAL_RCC_GPIOB_CLK_ENABLE();

  /*Configure GPIO pin Output Level */
  HAL_GPIO_WritePin(IN_TS3A5018_GPIO_Port, IN_TS3A5018_Pin, GPIO_PIN_RESET);

  /*Configure GPIO pin Output Level */
  HAL_GPIO_WritePin(GPIOB, ST7789_DC_Pin|ST7789_RST_Pin|CS_SD_Pin|ON_OFF_3V7_Pin, GPIO_PIN_RESET);

  /*Configure GPIO pin Output Level */
  HAL_GPIO_WritePin(ST7789_CS_GPIO_Port, ST7789_CS_Pin, GPIO_PIN_SET);

  /*Configure GPIO pin : SW3_Pin */
  GPIO_InitStruct.Pin = SW3_Pin;
  GPIO_InitStruct.Mode = GPIO_MODE_INPUT;
  GPIO_InitStruct.Pull = GPIO_PULLUP;
  HAL_GPIO_Init(SW3_GPIO_Port, &GPIO_InitStruct);

  /*Configure GPIO pin : IN_TS3A5018_Pin */
  GPIO_InitStruct.Pin = IN_TS3A5018_Pin;
  GPIO_InitStruct.Mode = GPIO_MODE_OUTPUT_PP;
  GPIO_InitStruct.Pull = GPIO_NOPULL;
  GPIO_InitStruct.Speed = GPIO_SPEED_FREQ_LOW;
  HAL_GPIO_Init(IN_TS3A5018_GPIO_Port, &GPIO_InitStruct);

  /*Configure GPIO pins : ST7789_DC_Pin ST7789_RST_Pin ST7789_CS_Pin */
  GPIO_InitStruct.Pin = ST7789_DC_Pin|ST7789_RST_Pin|ST7789_CS_Pin;
  GPIO_InitStruct.Mode = GPIO_MODE_OUTPUT_PP;
  GPIO_InitStruct.Pull = GPIO_NOPULL;
  GPIO_InitStruct.Speed = GPIO_SPEED_FREQ_VERY_HIGH;
  HAL_GPIO_Init(GPIOB, &GPIO_InitStruct);

  /*Configure GPIO pin : ALERT_INA_Pin */
  GPIO_InitStruct.Pin = ALERT_INA_Pin;
  GPIO_InitStruct.Mode = GPIO_MODE_INPUT;
  GPIO_InitStruct.Pull = GPIO_PULLUP;
  HAL_GPIO_Init(ALERT_INA_GPIO_Port, &GPIO_InitStruct);

  /*Configure GPIO pins : LINK_Pin IN_DRAIN_LATCH_Pin */
  GPIO_InitStruct.Pin = LINK_Pin|IN_DRAIN_LATCH_Pin;
  GPIO_InitStruct.Mode = GPIO_MODE_INPUT;
  GPIO_InitStruct.Pull = GPIO_NOPULL;
  HAL_GPIO_Init(GPIOB, &GPIO_InitStruct);

  /*Configure GPIO pins : CS_SD_Pin ON_OFF_3V7_Pin */
  GPIO_InitStruct.Pin = CS_SD_Pin|ON_OFF_3V7_Pin;
  GPIO_InitStruct.Mode = GPIO_MODE_OUTPUT_PP;
  GPIO_InitStruct.Pull = GPIO_NOPULL;
  GPIO_InitStruct.Speed = GPIO_SPEED_FREQ_LOW;
  HAL_GPIO_Init(GPIOB, &GPIO_InitStruct);

  /*Configure GPIO pins : IN_CHARGER_Pin STDBY_Pin CHRGB_Pin */
  GPIO_InitStruct.Pin = IN_CHARGER_Pin|STDBY_Pin|CHRGB_Pin;
  GPIO_InitStruct.Mode = GPIO_MODE_INPUT;
  GPIO_InitStruct.Pull = GPIO_NOPULL;
  HAL_GPIO_Init(GPIOA, &GPIO_InitStruct);

}

/* USER CODE BEGIN 4 */
void PWM_set_Freq_DutyCycle(uint16_t freq, uint8_t duty){
	/*
	 * La frecuencia a la que opera el uC es de 48000000Hz
	 *
	 * El prescaler PSC-16bits divide a esta frecuencia
	 * 48000000/48 = 1000000Hz = 1Mhz
	 *
	 * El CounterPeriod solo es un contador de 0 - 65535 y cuando lo establecemos en un valor digamos 10000
	 * entonces va contar de 0  a 10000 y luego se desbordara es decir reiniciara y empezara de cero otra vez hasta 10000
	 * Ahora el CounterPeriod sirve para cambiar el periodo y con esto la frecuencia T = 1 / freq
	 * 		__HAL_TIM_GET_AUTORELOAD(&htim16): Esta función devuelve el valor actual del registro ARR (Auto-Reload Register)
	 * 		del temporizador, que representa el Counter Period.
	 * */
	uint16_t valor_CCR;
	uint32_t CounterPeriod;//en microsegundos
	uint32_t freqOsc = HAL_RCC_GetHCLKFreq();//obtiene la frecuencia del OSC en Hz (48000000)
	uint16_t prescaler = 170;//PSC-16bits

	if(duty > 100) duty = 100;
	CounterPeriod = freqOsc/(freq*prescaler);//aqui nos da el periodo en microsegundos
	//y este periodo(CounterPeriod) necesita la funcion __HAL_TIM_SET_AUTORELOAD

    HAL_TIM_PWM_Start(&htim16, TIM_CHANNEL_1);//inicia la generacion de la señal PWM
    //modificamos el valor del CounterPeriod y con esto modificamos la frecuencia de salida
	__HAL_TIM_SET_AUTORELOAD(&htim16,CounterPeriod);//Si quiero cambiar la frecuencia modifico: __HAL_TIM_SET_AUTORELOAD(&htim16, 1000000/frecuencia que quiero) 1000000porque es microsegundos
	//CounterPeriod = __HAL_TIM_GET_AUTORELOAD(&htim16)
	//visto con un analizador logico en un 50% de duty me da 49.5% y cuando le sumo 2 me da 50.05%
	valor_CCR = (CounterPeriod + 2)* duty/100.0;//divido entre 100 porque quiero de 0 a 100%, cambiar el rango si se desea
    __HAL_TIM_SET_COMPARE(&htim16, TIM_CHANNEL_1, valor_CCR);
    //HAL_Delay(500);
    //HAL_TIM_PWM_Stop(&htim16, TIM_CHANNEL_1);//aqui detengo la generacion del PWM, pero para mi caso necesito que siempre ete activado
}

/* USER CODE END 4 */

void Error_Handler(void)
{
  __disable_irq();
  while (1)
  {
  }
}
